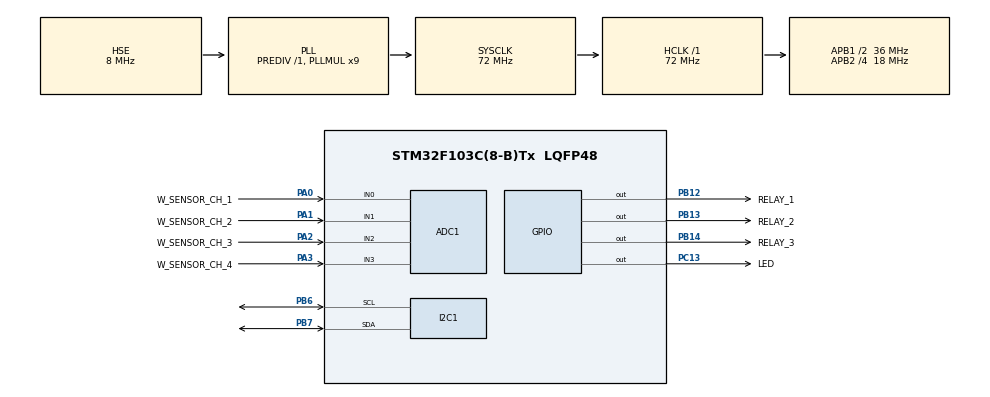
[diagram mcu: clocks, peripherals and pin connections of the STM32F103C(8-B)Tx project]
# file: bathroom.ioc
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ADC1.Channel-0\#ChannelRegularConversion=ADC_CHANNEL_0
ADC1.NbrOfConversionFlag=1
ADC1.Rank-0\#ChannelRegularConversion=1
ADC1.SamplingTime-0\#ChannelRegularConversion=ADC_SAMPLETIME_1CYCLE_5
ADC1.master=1
Mcu.Family=STM32F1
Mcu.Name=STM32F103C(8-B)Tx
Mcu.Package=LQFP48
NVIC.PriorityGroup=NVIC_PRIORITYGROUP_4
PA0-WKUP.GPIO_Label=W_SENSOR_CH_1
PA0-WKUP.Signal=SharedAnalog_PA0
PA1.GPIO_Label=W_SENSOR_CH_2
PA1.Signal=ADCx_IN1
PA13.Mode=Serial_Wire
PA13.Signal=SYS_JTMS-SWDIO
PA14.Mode=Serial_Wire
PA14.Signal=SYS_JTCK-SWCLK
PA2.GPIO_Label=W_SENSOR_CH_3
PA2.Signal=ADCx_IN2
PA3.GPIO_Label=W_SENSOR_CH_4
PA3.Signal=ADCx_IN3
PB12.GPIO_Label=RELAY_1
PB12.GPIO_ModeDefaultOutputPP=GPIO_MODE_OUTPUT_OD
PB12.PinState=GPIO_PIN_SET
PB12.Signal=GPIO_Output
PB13.GPIO_Label=RELAY_2
PB13.GPIO_ModeDefaultOutputPP=GPIO_MODE_OUTPUT_OD
PB13.PinState=GPIO_PIN_SET
PB13.Signal=GPIO_Output
PB14.GPIO_Label=RELAY_3
PB14.GPIO_ModeDefaultOutputPP=GPIO_MODE_OUTPUT_OD
PB14.PinState=GPIO_PIN_SET
PB14.Signal=GPIO_Output
PB6.Mode=I2C
PB6.Signal=I2C1_SCL
PB7.Mode=I2C
PB7.Signal=I2C1_SDA
PC13-TAMPER-RTC.GPIO_Label=LED
PC13-TAMPER-RTC.GPIO_ModeDefaultOutputPP=GPIO_MODE_OUTPUT_OD
PC13-TAMPER-RTC.PinState=GPIO_PIN_SET
PC13-TAMPER-RTC.Signal=GPIO_Output
PD0-OSC_IN.Mode=HSE-External-Oscillator
PD0-OSC_IN.Signal=RCC_OSC_IN
PD1-OSC_OUT.Mode=HSE-External-Oscillator
PD1-OSC_OUT.Signal=RCC_OSC_OUT
ProjectManager.HeapSize=0x200
ProjectManager.StackSize=0x400
ProjectManager.TargetToolchain=STM32CubeIDE
RCC.AHBFreq_Value=72000000
RCC.APB1CLKDivider=RCC_HCLK_DIV2
RCC.APB1Freq_Value=36000000
RCC.APB1TimFreq_Value=72000000
RCC.APB2CLKDivider=RCC_HCLK_DIV4
RCC.APB2Freq_Value=18000000
RCC.APB2TimFreq_Value=36000000
RCC.HCLKFreq_Value=72000000
RCC.PLLMUL=RCC_PLL_MUL9
RCC.PLLSourceVirtual=RCC_PLLSOURCE_HSE
RCC.SYSCLKFreq_VALUE=72000000
RCC.SYSCLKSource=RCC_SYSCLKSOURCE_PLLCLK
RCC.USBFreq_Value=72000000
SH.ADCx_IN1.0=ADC1_IN1,IN1
SH.ADCx_IN2.0=ADC1_IN2,IN2
SH.ADCx_IN3.0=ADC1_IN3,IN3
SH.SharedAnalog_PA0.0=GPIO_Analog
SH.SharedAnalog_PA0.1=ADC1_IN0,IN0
board=custom

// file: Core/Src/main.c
/* USER CODE BEGIN Header */
/**
  ******************************************************************************
  * @file           : main.c
  * @brief          : Main program body
  ******************************************************************************
  * @attention
  *
  * <h2><center>&copy; Copyright (c) 2021 STMicroelectronics.
  * All rights reserved.</center></h2>
  *
  * This software component is licensed by ST under BSD 3-Clause license,
  * the "License"; You may not use this file except in compliance with the
  * License. You may obtain a copy of the License at:
  *                        opensource.org/licenses/BSD-3-Clause
  *
  ******************************************************************************
  */
/* USER CODE END Header */
#include "main.h"

/* USER CODE BEGIN Includes */
#include "./BME280_driver/bme280.h"
#include <stdlib.h>
#include <string.h>

/* USER CODE END Includes */

/* USER CODE BEGIN PD */
#define BME280_FLOAT_ENABLE
#define RELAY_ON GPIO_PIN_RESET
/* USER CODE END PD */

ADC_HandleTypeDef hadc1;

I2C_HandleTypeDef hi2c1;

/* USER CODE BEGIN PV */
double temperature, humidity, pressure;
/* USER CODE END PV */

void SystemClock_Config(void);
static void MX_GPIO_Init(void);
static void MX_I2C1_Init(void);
static void MX_ADC1_Init(void);

/* USER CODE BEGIN 0 */
int8_t user_i2c_read(uint8_t id, uint8_t reg_addr, uint8_t *data, uint16_t len)
{
  if(HAL_I2C_Master_Transmit(&hi2c1, (id << 1), &reg_addr, 1, 10) != HAL_OK) return -1;
  if(HAL_I2C_Master_Receive(&hi2c1, (id << 1) | 0x01, data, len, 10) != HAL_OK) return -1;

  return 0;
}

void user_delay_ms(uint32_t period)
{
  HAL_Delay(period);
}

int8_t user_i2c_write(uint8_t id, uint8_t reg_addr, uint8_t *data, uint16_t len)
{
  int8_t *buf;
  buf = malloc(len +1);
  buf[0] = reg_addr;
  memcpy(buf +1, data, len);

  if(HAL_I2C_Master_Transmit(&hi2c1, (id << 1), (uint8_t*)buf, len + 1, HAL_MAX_DELAY) != HAL_OK) return -1;

  free(buf);
  return 0;
}
void blink_code(int code)
{
	HAL_GPIO_WritePin(LED_GPIO_Port, LED_Pin, GPIO_PIN_SET);
	uint8_t _high = code / 10;
	uint8_t _low = code % 10;

	HAL_Delay(350);
	for (int i = 0; i < _high; i++){
		  HAL_GPIO_WritePin(LED_GPIO_Port, LED_Pin, GPIO_PIN_RESET);
		  HAL_Delay(200);
		  HAL_GPIO_WritePin(LED_GPIO_Port, LED_Pin, GPIO_PIN_SET);
		  HAL_Delay(350);
	}
	HAL_Delay(500);
	for (int i = 0; i < _low; i++){
		HAL_GPIO_WritePin(LED_GPIO_Port, LED_Pin, GPIO_PIN_RESET);
		HAL_Delay(50);
		HAL_GPIO_WritePin(LED_GPIO_Port, LED_Pin, GPIO_PIN_SET);
		HAL_Delay(300);
	}
	HAL_Delay(350);
}
/* USER CODE END 0 */

int main(void)
{

  /* MCU Configuration--------------------------------------------------------*/

  /* Reset of all peripherals, Initializes the Flash interface and the Systick. */
  HAL_Init();

  /* Configure the system clock */
  SystemClock_Config();

  /* Initialize all configured peripherals */
  MX_GPIO_Init();
  MX_I2C1_Init();
  MX_ADC1_Init();
  /* USER CODE BEGIN 2 */
	struct bme280_dev dev;
	int8_t rslt = BME280_OK;

	dev.dev_id = BME280_I2C_ADDR_PRIM;
	dev.intf = BME280_I2C_INTF;
	dev.read = user_i2c_read;
	dev.write = user_i2c_write;
	dev.delay_ms = user_delay_ms;

	rslt = bme280_init(&dev);

	uint8_t settings_sel;
	struct bme280_data comp_data;

	/* Recommended mode of operation: Indoor navigation */
	dev.settings.osr_h = BME280_OVERSAMPLING_1X;
	dev.settings.osr_p = BME280_OVERSAMPLING_16X;
	dev.settings.osr_t = BME280_OVERSAMPLING_2X;
	dev.settings.filter = BME280_FILTER_COEFF_16;
	dev.settings.standby_time = BME280_STANDBY_TIME_62_5_MS;

	settings_sel = BME280_OSR_PRESS_SEL;
	settings_sel |= BME280_OSR_TEMP_SEL;
	settings_sel |= BME280_OSR_HUM_SEL;
	settings_sel |= BME280_STANDBY_SEL;
	settings_sel |= BME280_FILTER_SEL;
	rslt = bme280_set_sensor_settings(settings_sel, &dev);
	rslt = bme280_set_sensor_mode(BME280_NORMAL_MODE, &dev);

  /* USER CODE END 2 */

  /* Infinite loop */
  while (1)
  {

    /* USER CODE BEGIN 3 */
	  rslt = bme280_get_sensor_data(BME280_ALL, &comp_data, &dev);
	  if(rslt == BME280_OK)
	  {
		  temperature = comp_data.temperature;     /* °C  */
		  humidity = comp_data.humidity;           /* %   */
		  pressure = comp_data.pressure/133.322387415;          /* mmHg */
	  }
	  if (humidity > 50.0 && RELAY_ON != HAL_GPIO_ReadPin(RELAY_1_GPIO_Port, RELAY_1_Pin)){
		  HAL_GPIO_WritePin(RELAY_1_GPIO_Port, RELAY_1_Pin, GPIO_PIN_RESET);
	  }else if(humidity < 47.0 && RELAY_ON == HAL_GPIO_ReadPin(RELAY_1_GPIO_Port, RELAY_1_Pin)) {
		  HAL_GPIO_WritePin(RELAY_1_GPIO_Port, RELAY_1_Pin, GPIO_PIN_SET);
	  }
//	  HAL_Delay(1000);
	  blink_code((int)humidity);
  }
  /* USER CODE END 3 */
}

void SystemClock_Config(void)
{
  RCC_OscInitTypeDef RCC_OscInitStruct = {0};
  RCC_ClkInitTypeDef RCC_ClkInitStruct = {0};
  RCC_PeriphCLKInitTypeDef PeriphClkInit = {0};

  /** Initializes the RCC Oscillators according to the specified parameters
  * in the RCC_OscInitTypeDef structure.
  */
  RCC_OscInitStruct.OscillatorType = RCC_OSCILLATORTYPE_HSE;
  RCC_OscInitStruct.HSEState = RCC_HSE_ON;
  RCC_OscInitStruct.HSEPredivValue = RCC_HSE_PREDIV_DIV1;
  RCC_OscInitStruct.HSIState = RCC_HSI_ON;
  RCC_OscInitStruct.PLL.PLLState = RCC_PLL_ON;
  RCC_OscInitStruct.PLL.PLLSource = RCC_PLLSOURCE_HSE;
  RCC_OscInitStruct.PLL.PLLMUL = RCC_PLL_MUL9;
  if (HAL_RCC_OscConfig(&RCC_OscInitStruct) != HAL_OK)
  {
    Error_Handler();
  }
  /** Initializes the CPU, AHB and APB buses clocks
  */
  RCC_ClkInitStruct.ClockType = RCC_CLOCKTYPE_HCLK|RCC_CLOCKTYPE_SYSCLK
                              |RCC_CLOCKTYPE_PCLK1|RCC_CLOCKTYPE_PCLK2;
  RCC_ClkInitStruct.SYSCLKSource = RCC_SYSCLKSOURCE_PLLCLK;
  RCC_ClkInitStruct.AHBCLKDivider = RCC_SYSCLK_DIV1;
  RCC_ClkInitStruct.APB1CLKDivider = RCC_HCLK_DIV2;
  RCC_ClkInitStruct.APB2CLKDivider = RCC_HCLK_DIV4;

  if (HAL_RCC_ClockConfig(&RCC_ClkInitStruct, FLASH_LATENCY_2) != HAL_OK)
  {
    Error_Handler();
  }
  PeriphClkInit.PeriphClockSelection = RCC_PERIPHCLK_ADC;
  PeriphClkInit.AdcClockSelection = RCC_ADCPCLK2_DIV2;
  if (HAL_RCCEx_PeriphCLKConfig(&PeriphClkInit) != HAL_OK)
  {
    Error_Handler();
  }
}

static void MX_ADC1_Init(void)
{

  ADC_ChannelConfTypeDef sConfig = {0};

  /** Common config
  */
  hadc1.Instance = ADC1;
  hadc1.Init.ScanConvMode = ADC_SCAN_DISABLE;
  hadc1.Init.ContinuousConvMode = DISABLE;
  hadc1.Init.DiscontinuousConvMode = DISABLE;
  hadc1.Init.ExternalTrigConv = ADC_SOFTWARE_START;
  hadc1.Init.DataAlign = ADC_DATAALIGN_RIGHT;
  hadc1.Init.NbrOfConversion = 1;
  if (HAL_ADC_Init(&hadc1) != HAL_OK)
  {
    Error_Handler();
  }
  /** Configure Regular Channel
  */
  sConfig.Channel = ADC_CHANNEL_0;
  sConfig.Rank = ADC_REGULAR_RANK_1;
  sConfig.SamplingTime = ADC_SAMPLETIME_1CYCLE_5;
  if (HAL_ADC_ConfigChannel(&hadc1, &sConfig) != HAL_OK)
  {
    Error_Handler();
  }

}

static void MX_I2C1_Init(void)
{

  hi2c1.Instance = I2C1;
  hi2c1.Init.ClockSpeed = 100000;
  hi2c1.Init.DutyCycle = I2C_DUTYCYCLE_2;
  hi2c1.Init.OwnAddress1 = 0;
  hi2c1.Init.AddressingMode = I2C_ADDRESSINGMODE_7BIT;
  hi2c1.Init.DualAddressMode = I2C_DUALADDRESS_DISABLE;
  hi2c1.Init.OwnAddress2 = 0;
  hi2c1.Init.GeneralCallMode = I2C_GENERALCALL_DISABLE;
  hi2c1.Init.NoStretchMode = I2C_NOSTRETCH_DISABLE;
  if (HAL_I2C_Init(&hi2c1) != HAL_OK)
  {
    Error_Handler();
  }

}

static void MX_GPIO_Init(void)
{
  GPIO_InitTypeDef GPIO_InitStruct = {0};

  /* GPIO Ports Clock Enable */
  __HAL_RCC_GPIOC_CLK_ENABLE();
  __HAL_RCC_GPIOD_CLK_ENABLE();
  __HAL_RCC_GPIOA_CLK_ENABLE();
  __HAL_RCC_GPIOB_CLK_ENABLE();

  /*Configure GPIO pin Output Level */
  HAL_GPIO_WritePin(LED_GPIO_Port, LED_Pin, GPIO_PIN_SET);

  /*Configure GPIO pin Output Level */
  HAL_GPIO_WritePin(GPIOB, RELAY_1_Pin|RELAY_2_Pin|RELAY_3_Pin, GPIO_PIN_SET);

  /*Configure GPIO pin : LED_Pin */
  GPIO_InitStruct.Pin = LED_Pin;
  GPIO_InitStruct.Mode = GPIO_MODE_OUTPUT_OD;
  GPIO_InitStruct.Pull = GPIO_NOPULL;
  GPIO_InitStruct.Speed = GPIO_SPEED_FREQ_LOW;
  HAL_GPIO_Init(LED_GPIO_Port, &GPIO_InitStruct);

  /*Configure GPIO pins : RELAY_1_Pin RELAY_2_Pin RELAY_3_Pin */
  GPIO_InitStruct.Pin = RELAY_1_Pin|RELAY_2_Pin|RELAY_3_Pin;
  GPIO_InitStruct.Mode = GPIO_MODE_OUTPUT_OD;
  GPIO_InitStruct.Pull = GPIO_NOPULL;
  GPIO_InitStruct.Speed = GPIO_SPEED_FREQ_LOW;
  HAL_GPIO_Init(GPIOB, &GPIO_InitStruct);

}

void Error_Handler(void)
{
  __disable_irq();
  while (1)
  {
  }
}

/************************ (C) COPYRIGHT STMicroelectronics *****END OF FILE****/
